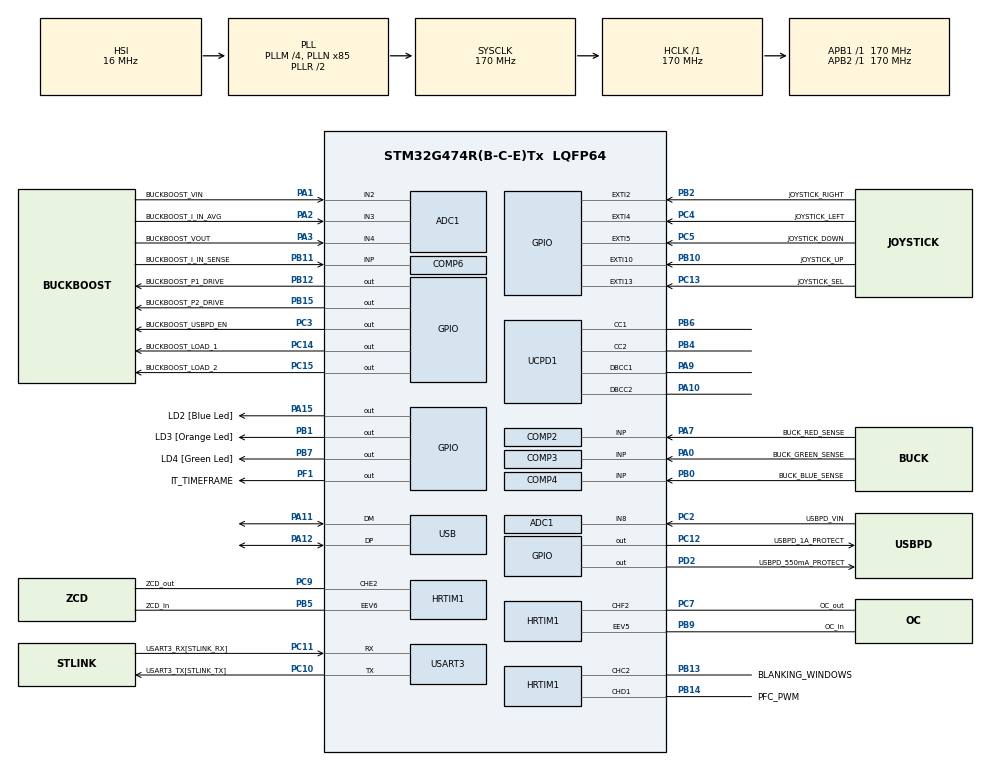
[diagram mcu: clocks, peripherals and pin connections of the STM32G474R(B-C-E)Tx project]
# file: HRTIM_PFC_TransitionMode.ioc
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ADC1.Channel-0\#ChannelRegularConversion=ADC_CHANNEL_8
ADC1.NbrOfConversionFlag=1
ADC1.OffsetNumber-0\#ChannelRegularConversion=ADC_OFFSET_NONE
ADC1.Rank-0\#ChannelRegularConversion=1
ADC1.SamplingTime-0\#ChannelRegularConversion=ADC_SAMPLETIME_2CYCLES_5
ADC1.master=1
DAC3.DAC_Channel-DAC_OUT2_Int=DAC_CHANNEL_2
HRTIM1.AutoDelayedMode2-Output_TD1=HRTIM_AUTODELAYEDMODE_AUTODELAYED_TIMEOUTCMP1
HRTIM1.AutoDelayedMode2-Output_TF2=HRTIM_AUTODELAYEDMODE_REGULAR
HRTIM1.AutoDelayedMode4-Output_TD1=HRTIM_AUTODELAYEDMODE_AUTODELAYED_TIMEOUTCMP1
HRTIM1.AutoDelayedTimeout2-Output_TD1=TON_MAX
HRTIM1.AutoDelayedTimeout4-Output_TD1=TON_MAX
HRTIM1.CaptureUnit1-Output_TD1=HRTIM_CAPTUREUNIT_1
HRTIM1.CaptureUnit1-Output_TE2=__NULL
HRTIM1.CaptureUnit1-Output_TF2=__NULL
HRTIM1.CaptureUnit2-Output_TD1=HRTIM_CAPTUREUNIT_2
HRTIM1.CaptureUnit2-Output_TF2=__NULL
HRTIM1.CompareUnit1-Output_TC2=HRTIM_COMPAREUNIT_1
HRTIM1.CompareUnit1-Output_TD1=HRTIM_COMPAREUNIT_1
HRTIM1.CompareUnit1-Output_TF2=HRTIM_COMPAREUNIT_1
HRTIM1.CompareUnit2-Output_TD1=HRTIM_COMPAREUNIT_2
HRTIM1.CompareUnit2-Output_TE2=__NULL
HRTIM1.CompareUnit2-Output_TF2=HRTIM_COMPAREUNIT_2
HRTIM1.CompareUnit3-Output_TD1=HRTIM_COMPAREUNIT_3
HRTIM1.CompareUnit3-Output_TE2=HRTIM_COMPAREUNIT_3
HRTIM1.CompareUnit3-Output_TF2=__NULL
HRTIM1.CompareUnit4-Output_TD1=HRTIM_COMPAREUNIT_4
HRTIM1.CompareUnit4-Output_TE2=HRTIM_COMPAREUNIT_4
HRTIM1.CompareUnit4-Output_TF2=__NULL
HRTIM1.CompareValue1-Output_TC2=TON_MIN
HRTIM1.CompareValue1-Output_TF2=14000
HRTIM1.CompareValue2-Output_TD1=TOFF_MAX
HRTIM1.CompareValue2-Output_TF2=14100
HRTIM1.CompareValue3-Output_TD1=TON_MIN
HRTIM1.CompareValue3-Output_TE2=30000
HRTIM1.CompareValue4-Output_TD1=TOFF_MIN
HRTIM1.CompareValue4-Output_TE2=31000
HRTIM1.Event10-Output_TC2=__NULL
HRTIM1.Event10-Output_TD1=__NULL
HRTIM1.Event10-Output_TE2=__NULL
HRTIM1.Event10-Output_TF2=__NULL
HRTIM1.Event5-Output_TD1=HRTIM_EVENT_5
HRTIM1.Event5-Output_TF2=__NULL
HRTIM1.Event6-Output_TC2=HRTIM_EVENT_6
HRTIM1.Event6-Output_TD1=HRTIM_EVENT_6
HRTIM1.Event6-Output_TE2=HRTIM_EVENT_6
HRTIM1.Event6-Output_TF2=HRTIM_EVENT_6
HRTIM1.EventEnableA-Output_TF2=__NULL
HRTIM1.Event_EEV10=__NULL
HRTIM1.Event_EEV5=HRTIM_EVENT_5
HRTIM1.FastMode_EEV5=HRTIM_EVENTFASTMODE_DISABLE
HRTIM1.Filter5-Output_TD1=HRTIM_TIMEEVFLT_BLANKINGCMP3
HRTIM1.Filter6-Output_TC2=HRTIM_TIMEEVFLT_BLANKING_TIMCEEF6_TIMDCMP4
HRTIM1.Filter6-Output_TD1=HRTIM_TIMEEVFLT_BLANKINGCMP4
HRTIM1.Filter6-Output_TE2=HRTIM_TIMEEVFLT_BLANKING_TIMEEEF7_TIMDCMP4
HRTIM1.Filter6-Output_TF2=HRTIM_TIMEEVFLT_BLANKING_TIMFEEF5_TIMDCMP4
HRTIM1.InterruptRequests1-Output_TF2=HRTIM_TIM_IT_RST
HRTIM1.Latch6-Output_TC2=HRTIM_TIMEVENTLATCH_ENABLED
HRTIM1.Latch6-Output_TD1=HRTIM_TIMEVENTLATCH_ENABLED
HRTIM1.Latch6-Output_TE2=HRTIM_TIMEVENTLATCH_ENABLED
HRTIM1.Latch6-Output_TF2=HRTIM_TIMEVENTLATCH_ENABLED
HRTIM1.NumberInterruptRequests-Output_TD1=0
HRTIM1.NumberInterruptRequests-Output_TF2=1
HRTIM1.NumberResetSource1-Output_TD1=2
HRTIM1.NumberResetSource2-Output_TC2=2
HRTIM1.NumberResetSource2-Output_TE2=3
HRTIM1.NumberResetSource2-Output_TF2=1
HRTIM1.NumberResetTrigger-Output_TC2=2
HRTIM1.NumberResetTrigger-Output_TD1=2
HRTIM1.NumberResetTrigger-Output_TE2=2
HRTIM1.NumberResetTrigger-Output_TF2=2
HRTIM1.NumberSetSource1-Output_TD1=2
HRTIM1.NumberSetSource2-Output_TC2=2
HRTIM1.NumberSetSource2-Output_TE2=1
HRTIM1.NumberSetSource2-Output_TF2=1
HRTIM1.NumberTriggerSource_Captureconfig1-Output_TD1=1
HRTIM1.NumberTriggerSource_Captureconfig2-Output_TD1=1
HRTIM1.NumberUpdateTrigger-Output_TF2=0
HRTIM1.Periode_TE=0xFFEF
HRTIM1.PrescalerRatio_TC=HRTIM_PRESCALERRATIO_MUL16
HRTIM1.PrescalerRatio_TD=HRTIM_PRESCALERRATIO_MUL16
HRTIM1.PrescalerRatio_TE=HRTIM_PRESCALERRATIO_MUL16
HRTIM1.PrescalerRatio_TF=HRTIM_PRESCALERRATIO_MUL16
HRTIM1.ResetOutput1_Source1-Output_TD1=HRTIM_OUTPUTRESET_TIMCMP1
HRTIM1.ResetOutput1_Source2-Output_TD1=HRTIM_OUTPUTRESET_EEV_5
HRTIM1.ResetOutput2_Source1-Output_TC2=HRTIM_OUTPUTRESET_TIMCMP1
HRTIM1.ResetOutput2_Source1-Output_TE2=HRTIM_OUTPUTRESET_TIMCMP4
HRTIM1.ResetOutput2_Source1-Output_TF2=HRTIM_OUTPUTRESET_TIMCMP2
HRTIM1.ResetOutput2_Source2-Output_TC2=HRTIM_OUTPUTRESET_TIMCEV6_TIMDCMP4
HRTIM1.ResetOutput2_Source2-Output_TE2=HRTIM_OUTPUTRESET_TIMEEV7_TIMDCMP2
HRTIM1.ResetOutput2_Source3-Output_TE2=HRTIM_OUTPUTRESET_EEV_6
HRTIM1.ResetTrigger1-Output_TC2=HRTIM_TIMRESETTRIGGER_OTHER3_CMP2
HRTIM1.ResetTrigger1-Output_TD1=HRTIM_TIMRESETTRIGGER_CMP2
HRTIM1.ResetTrigger1-Output_TE2=HRTIM_TIMRESETTRIGGER_OTHER4_CMP2
HRTIM1.ResetTrigger1-Output_TF2=HRTIM_TIMRESETTRIGGER_EEV_6
HRTIM1.ResetTrigger2-Output_TC2=HRTIM_TIMRESETTRIGGER_EEV_6
HRTIM1.ResetTrigger2-Output_TD1=HRTIM_TIMRESETTRIGGER_EEV_6
HRTIM1.ResetTrigger2-Output_TE2=HRTIM_TIMRESETTRIGGER_EEV_6
HRTIM1.ResetTrigger2-Output_TF2=HRTIM_TIMRESETTRIGGER_OTHER4_CMP2
HRTIM1.ResetUpdate-Output_TD1=HRTIM_TIMUPDATEONRESET_ENABLED
HRTIM1.ResetUpdate-Output_TE2=HRTIM_TIMUPDATEONRESET_ENABLED
HRTIM1.Sensitivity_EEV5=HRTIM_EVENTSENSITIVITY_LEVEL
HRTIM1.Sensitivity_EEV6=HRTIM_EVENTSENSITIVITY_RISINGEDGE
HRTIM1.SetOutput1_Source1-Output_TD1=HRTIM_OUTPUTSET_TIMCMP2
HRTIM1.SetOutput1_Source2-Output_TD1=HRTIM_OUTPUTSET_EEV_6
HRTIM1.SetOutput2_Source1-Output_TC2=HRTIM_OUTPUTSET_TIMCEV5_TIMDCMP2
HRTIM1.SetOutput2_Source1-Output_TE2=HRTIM_OUTPUTSET_TIMCMP3
HRTIM1.SetOutput2_Source1-Output_TF2=HRTIM_OUTPUTSET_TIMCMP1
HRTIM1.SetOutput2_Source2-Output_TC2=HRTIM_OUTPUTSET_EEV_6
HRTIM1.SyncOptions=HRTIM_SYNCOPTION_NONE
HRTIM1.TriggerCapture1_Source1-Output_TD1=HRTIM_CAPTURETRIGGER_EEV_5
HRTIM1.TriggerCapture2_Source1-Output_TD1=HRTIM_CAPTURETRIGGER_EEV_5
Mcu.Family=STM32G4
Mcu.Name=STM32G474R(B-C-E)Tx
Mcu.Package=LQFP64
NVIC.ADC1_2_IRQn=true\:0\:0\:true\:false\:true\:true\:true\:true
NVIC.EXTI15_10_IRQn=true\:1\:0\:true\:false\:true\:true\:true\:true
NVIC.HRTIM1_TIMF_IRQn=true\:0\:0\:true\:false\:true\:true\:false\:true
NVIC.PriorityGroup=NVIC_PRIORITYGROUP_4
NVIC.USART3_IRQn=true\:0\:0\:true\:false\:true\:true\:true\:true
NVIC.USB_HP_IRQn=true\:0\:0\:true\:false\:true\:true\:true\:true
PA0.GPIO_Label=BUCK_GREEN_SENSE
PA0.Mode=INP
PA0.Signal=COMP3_INP
PA1.GPIO_Label=BUCKBOOST_VIN
PA1.Mode=IN2-Single-Ended
PA1.Signal=ADC1_IN2
PA10.Mode=EnableDeadBattery
PA10.Signal=UCPD1_DBCC2
PA11.Mode=Device
PA11.Signal=USB_DM
PA12.Mode=Device
PA12.Signal=USB_DP
PA13.Mode=Serial_Wire
PA13.Signal=SYS_JTMS-SWDIO
PA14.Mode=Serial_Wire
PA14.Signal=SYS_JTCK-SWCLK
PA15.GPIO_Label=LD2 [Blue Led]
PA15.Signal=GPIO_Output
PA2.GPIO_Label=BUCKBOOST_I_IN_AVG
PA2.Mode=IN3-Single-Ended
PA2.Signal=ADC1_IN3
PA3.GPIO_Label=BUCKBOOST_VOUT
PA3.Mode=IN4-Single-Ended
PA3.Signal=ADC1_IN4
PA7.GPIO_Label=BUCK_RED_SENSE
PA7.Mode=INP
PA7.Signal=COMP2_INP
PA8.GPIO_Label=BUCK_BLUE_DRIVE
PA8.Signal=HRTIM1_CHA1
PA9.Mode=EnableDeadBattery
PA9.Signal=UCPD1_DBCC1
PB0.GPIO_Label=BUCK_BLUE_SENSE
PB0.Mode=INP
PB0.Signal=COMP4_INP
PB1.GPIO_Label=LD3 [Orange Led]
PB1.Signal=GPIO_Output
PB10.GPIO_Label=JOYSTICK_UP
PB10.GPIO_PuPd=GPIO_PULLUP
PB10.Signal=GPXTI10
PB11.GPIO_Label=BUCKBOOST_I_IN_SENSE
PB11.Mode=INP
PB11.Signal=COMP6_INP
PB12.GPIO_Label=BUCKBOOST_P1_DRIVE
PB12.Signal=GPIO_Output
PB13.GPIO_Label=BLANKING_WINDOWS
PB13.Mode=Output_TC2
PB13.Signal=HRTIM1_CHC2
PB14.GPIO_Label=PFC_PWM
PB14.Mode=Output_TD1
PB14.Signal=HRTIM1_CHD1
PB15.GPIO_Label=BUCKBOOST_P2_DRIVE
PB15.Signal=GPIO_Output
PB2.GPIO_Label=JOYSTICK_RIGHT
PB2.GPIO_PuPd=GPIO_PULLUP
PB2.Signal=GPXTI2
PB3.Signal=SYS_JTDO-SWO
PB4.Mode=Sink_AllSignals
PB4.Signal=UCPD1_CC2
PB5.GPIO_Label=ZCD_in
PB5.Mode=External_Evt_enable6
PB5.Signal=HRTIM1_EEV6
PB6.Mode=Sink_AllSignals
PB6.Signal=UCPD1_CC1
PB7.GPIO_Label=LD4 [Green Led]
PB7.Signal=GPIO_Output
PB9.GPIO_Label=OC_in
PB9.Mode=External_Evt_enable5
PB9.Signal=HRTIM1_EEV5
PC10.GPIO_Label=USART3_TX[STLINK_TX]
PC10.GPIO_Speed=GPIO_SPEED_FREQ_MEDIUM
PC10.Mode=Asynchronous
PC10.Signal=USART3_TX
PC11.GPIO_Label=USART3_RX[STLINK_RX]
PC11.GPIO_Speed=GPIO_SPEED_FREQ_MEDIUM
PC11.Mode=Asynchronous
PC11.Signal=USART3_RX
PC12.GPIO_Label=USBPD_1A_PROTECT
PC12.Signal=GPIO_Output
PC13.GPIO_Label=JOYSTICK_SEL
PC13.GPIO_PuPd=GPIO_PULLUP
PC13.Signal=GPXTI13
PC14-OSC32_IN.GPIO_Label=BUCKBOOST_LOAD_1
PC14-OSC32_IN.Signal=GPIO_Output
PC15-OSC32_OUT.GPIO_Label=BUCKBOOST_LOAD_2
PC15-OSC32_OUT.Signal=GPIO_Output
PC2.GPIO_Label=USBPD_VIN
PC2.Mode=IN8-Single-Ended
PC2.Signal=ADC1_IN8
PC3.GPIO_Label=BUCKBOOST_USBPD_EN
PC3.Signal=GPIO_Output
PC4.GPIO_Label=JOYSTICK_LEFT
PC4.GPIO_PuPd=GPIO_PULLUP
PC4.Signal=GPXTI4
PC5.GPIO_Label=JOYSTICK_DOWN
PC5.GPIO_PuPd=GPIO_PULLUP
PC5.Signal=GPXTI5
PC7.GPIO_Label=OC_out
PC7.Mode=Output_TF2
PC7.Signal=HRTIM1_CHF2
PC8.GPIO_Label=BUCK_GREEN_DRIVE
PC8.Signal=HRTIM1_CHE1
PC9.GPIO_Label=ZCD_out
PC9.Mode=Output_TE2
PC9.Signal=HRTIM1_CHE2
PD2.GPIO_Label=USBPD_550mA_PROTECT
PD2.Signal=GPIO_Output
PF1-OSC_OUT.GPIO_Label=IT_TIMEFRAME
PF1-OSC_OUT.Signal=GPIO_Output
ProjectManager.HeapSize=0x200
ProjectManager.StackSize=0x400
ProjectManager.TargetToolchain=EWARM V8.32
RCC.ADC12Freq_Value=170000000
RCC.ADC345Freq_Value=170000000
RCC.AHBFreq_Value=170000000
RCC.APB1Freq_Value=170000000
RCC.APB1TimFreq_Value=170000000
RCC.APB2Freq_Value=170000000
RCC.APB2TimFreq_Value=170000000
RCC.CK48CLockSelection=RCC_USBCLKSOURCE_HSI48
RCC.CortexFreq_Value=170000000
RCC.EXTERNAL_CLOCK_VALUE=12288000
RCC.HCLKFreq_Value=170000000
RCC.HSE_VALUE=8000000
RCC.HSI48_VALUE=48000000
RCC.HSI_VALUE=16000000
RCC.LSE_VALUE=32768
RCC.PLLM=RCC_PLLM_DIV4
RCC.PLLN=85
RCC.PLLP=RCC_PLLP_DIV8
RCC.PLLQ=RCC_PLLQ_DIV8
RCC.SYSCLKFreq_VALUE=170000000
RCC.SYSCLKSource=RCC_SYSCLKSOURCE_PLLCLK
RCC.USBFreq_Value=48000000
RCC.VCOOutputFreq_Value=340000000
USART3.ClockPrescaler=PRESCALER_DIV4
USART3.VirtualMode-Asynchronous=VM_ASYNC
USART3.WordLength=WORDLENGTH_8B
VP_COMP2_VS_DAC3OUT2.Mode=INM_DAC3OUT2
VP_COMP3_VS_DAC3OUT1.Mode=INM_DAC3OUT1
VP_COMP4_VS_DAC1OUT1.Mode=INM_DAC1OUT1
VP_COMP6_VS_DAC2OUT1.Mode=INM_DAC2OUT1
VP_DAC1_VS_DACI1.Mode=DAC_OUT1_Int
VP_DAC2_VS_DACI1.Mode=DAC_OUT1_Int
VP_DAC3_VS_DACI1.Mode=DAC_OUT1_Int
VP_DAC3_VS_DACI2.Mode=DAC_OUT2_Int
VP_SYS_VS_DBSignals.Mode=DisableDeadBatterySignals
board=B-G474E-DPOW1

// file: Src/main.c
/* USER CODE BEGIN Header */
/**
  ******************************************************************************
  * @file         main.c
  * @author       STMicroelectronics
  * @version      V1.0.0
  * @date         06-Jan-2022
  * @brief        Main application code
  * @details      This file contains peripheral initialization functions and
  *               main code of the application
  ******************************************************************************
  *
  * Copyright (c) 2022 STMicroelectronics.
  * All rights reserved.
  *
  * This software is licensed under terms that can be found in the LICENSE file in
  * the root directory of this software component.
  * If no LICENSE file comes with this software, it is provided AS-IS.
  ******************************************************************************
  *
 * @history Date       Version Person  Change
 * @history ---------- ------- ------- ----------------------------------------
  * @history 2022-01-06 1.0     NSa    First version of the file
 */
/* USER CODE END Header */
#include "main.h"

ADC_HandleTypeDef hadc1;

COMP_HandleTypeDef hcomp2;
COMP_HandleTypeDef hcomp3;
COMP_HandleTypeDef hcomp4;
COMP_HandleTypeDef hcomp6;

DAC_HandleTypeDef hdac1;
DAC_HandleTypeDef hdac2;
DAC_HandleTypeDef hdac3;

HRTIM_HandleTypeDef hhrtim1;

UART_HandleTypeDef huart3;

PCD_HandleTypeDef hpcd_USB_FS;

/* USER CODE BEGIN PV */

// declared in the IT's source file
extern uint16_t zcd_re_time;
extern uint16_t oc_re_time;
extern char blanking_display_status;

/* USER CODE END PV */

void SystemClock_Config(void);
static void MX_GPIO_Init(void);
static void MX_ADC1_Init(void);
static void MX_COMP2_Init(void);
static void MX_COMP3_Init(void);
static void MX_COMP4_Init(void);
static void MX_COMP6_Init(void);
static void MX_DAC1_Init(void);
static void MX_DAC2_Init(void);
static void MX_DAC3_Init(void);
static void MX_HRTIM1_Init(void);
static void MX_UCPD1_Init(void);
static void MX_USART3_UART_Init(void);
static void MX_USB_PCD_Init(void);

/* USER CODE BEGIN 0 */

/**
  * @brief  EXTI line detection callback; called by IRQ's when joystick is pressed
  * @param  GPIO_Pin: Specifies the button of the joystick that was pressed
  * @retval None
  */
void HAL_GPIO_EXTI_Callback(uint16_t GPIO_Pin)
{
  if (GPIO_Pin == JOYSTICK_SEL_Pin)
  {
    blanking_display_status ^= 1;

    // If we want to display the ZCD blanking window, we set the compare event to the max
    // because the output is also reset on Timer D's Toff_Min event
    if (blanking_display_status == 1)
      __HAL_HRTIM_SETCOMPARE(&hhrtim1,
                           HRTIM_TIMERINDEX_TIMER_C,
                           HRTIM_COMPAREUNIT_1,
                           MAX_DUTY_CYCLE);
    else
    // If we want to display the OC blanking window we use TC_compare1 to reset the output
    // directly on TON_MIN
      __HAL_HRTIM_SETCOMPARE(&hhrtim1,
                           HRTIM_TIMERINDEX_TIMER_C,
                           HRTIM_COMPAREUNIT_1,
                           TON_MIN);

  }
}

/* USER CODE END 0 */

int main(void)
{

  /* MCU Configuration--------------------------------------------------------*/

  /* Reset of all peripherals, Initializes the Flash interface and the Systick. */
  HAL_Init();

  /* Configure the system clock */
  SystemClock_Config();

  /* Initialize all configured peripherals */
  MX_GPIO_Init();
  MX_ADC1_Init();
  MX_COMP2_Init();
  MX_COMP3_Init();
  MX_COMP4_Init();
  MX_COMP6_Init();
  MX_DAC1_Init();
  MX_DAC2_Init();
  MX_DAC3_Init();
  MX_HRTIM1_Init();
  MX_UCPD1_Init();
  MX_USART3_UART_Init();
  MX_USB_PCD_Init();
  /* USER CODE BEGIN 2 */

  /* Disable Buck & Boost drivers only mode usage */
  // We make sure that no high-side is connected on the DC-DC converter
  HAL_GPIO_WritePin(GPIOB, BUCKBOOST_P2_DRIVE_Pin |
                           BUCKBOOST_P1_DRIVE_Pin , GPIO_PIN_RESET);

  // Enable HRTIM Outputs
  HAL_HRTIM_WaveformOutputStart(&hhrtim1, HRTIM_OUTPUT_TE2 | // ZCD
                                          HRTIM_OUTPUT_TF2 | // OC
                                          HRTIM_OUTPUT_TD1 | // PWM
                                          HRTIM_OUTPUT_TC2); // Blanking Windows

  // Start HRTIM Counters
  HAL_HRTIM_WaveformCounterStart(&hhrtim1, HRTIM_TIMERID_TIMER_E |  // ZCD
                                           HRTIM_TIMERID_TIMER_F |  // OC
                                           HRTIM_TIMERID_TIMER_D |  // PWM
                                           HRTIM_TIMERID_TIMER_C ); // Blanking Windows

  /* Configure Debug engine to freeze HRTIM1 when breakpoint */
  SET_BIT(DBGMCU->APB2FZ, DBGMCU_APB2FZ_DBG_HRTIM1_STOP);

  /*Enable the HRTIM CHF IT to edit the ZCD/OC occurrence according user config*/
  __HAL_HRTIM_TIMER_ENABLE_IT(&hhrtim1, HRTIM_TIMERINDEX_TIMER_F, HRTIM_TIM_IT_RST);

  /* USER CODE END 2 */

  /* Infinite loop */
  while (1)
  {

    /* USER CODE BEGIN 3 */
    // Toggle pin to observe bandwidth usage by IRQ
    HAL_GPIO_TogglePin(IT_TIMEFRAME_GPIO_Port, IT_TIMEFRAME_Pin);
  }
  /* USER CODE END 3 */
}

void SystemClock_Config(void)
{
  RCC_OscInitTypeDef RCC_OscInitStruct = {0};
  RCC_ClkInitTypeDef RCC_ClkInitStruct = {0};

  /** Configure the main internal regulator output voltage
  */
  HAL_PWREx_ControlVoltageScaling(PWR_REGULATOR_VOLTAGE_SCALE1_BOOST);

  /** Initializes the RCC Oscillators according to the specified parameters
  * in the RCC_OscInitTypeDef structure.
  */
  RCC_OscInitStruct.OscillatorType = RCC_OSCILLATORTYPE_HSI|RCC_OSCILLATORTYPE_HSI48;
  RCC_OscInitStruct.HSIState = RCC_HSI_ON;
  RCC_OscInitStruct.HSICalibrationValue = RCC_HSICALIBRATION_DEFAULT;
  RCC_OscInitStruct.HSI48State = RCC_HSI48_ON;
  RCC_OscInitStruct.PLL.PLLState = RCC_PLL_ON;
  RCC_OscInitStruct.PLL.PLLSource = RCC_PLLSOURCE_HSI;
  RCC_OscInitStruct.PLL.PLLM = RCC_PLLM_DIV4;
  RCC_OscInitStruct.PLL.PLLN = 85;
  RCC_OscInitStruct.PLL.PLLP = RCC_PLLP_DIV8;
  RCC_OscInitStruct.PLL.PLLQ = RCC_PLLQ_DIV8;
  RCC_OscInitStruct.PLL.PLLR = RCC_PLLR_DIV2;
  if (HAL_RCC_OscConfig(&RCC_OscInitStruct) != HAL_OK)
  {
    Error_Handler();
  }

  /** Initializes the CPU, AHB and APB buses clocks
  */
  RCC_ClkInitStruct.ClockType = RCC_CLOCKTYPE_HCLK|RCC_CLOCKTYPE_SYSCLK
                              |RCC_CLOCKTYPE_PCLK1|RCC_CLOCKTYPE_PCLK2;
  RCC_ClkInitStruct.SYSCLKSource = RCC_SYSCLKSOURCE_PLLCLK;
  RCC_ClkInitStruct.AHBCLKDivider = RCC_SYSCLK_DIV1;
  RCC_ClkInitStruct.APB1CLKDivider = RCC_HCLK_DIV1;
  RCC_ClkInitStruct.APB2CLKDivider = RCC_HCLK_DIV1;

  if (HAL_RCC_ClockConfig(&RCC_ClkInitStruct, FLASH_LATENCY_4) != HAL_OK)
  {
    Error_Handler();
  }
}

static void MX_ADC1_Init(void)
{

  ADC_MultiModeTypeDef multimode = {0};
  ADC_ChannelConfTypeDef sConfig = {0};

  /** Common config
  */
  hadc1.Instance = ADC1;
  hadc1.Init.ClockPrescaler = ADC_CLOCK_SYNC_PCLK_DIV4;
  hadc1.Init.Resolution = ADC_RESOLUTION_12B;
  hadc1.Init.DataAlign = ADC_DATAALIGN_RIGHT;
  hadc1.Init.GainCompensation = 0;
  hadc1.Init.ScanConvMode = ADC_SCAN_DISABLE;
  hadc1.Init.EOCSelection = ADC_EOC_SINGLE_CONV;
  hadc1.Init.LowPowerAutoWait = DISABLE;
  hadc1.Init.ContinuousConvMode = DISABLE;
  hadc1.Init.NbrOfConversion = 1;
  hadc1.Init.DiscontinuousConvMode = DISABLE;
  hadc1.Init.ExternalTrigConv = ADC_SOFTWARE_START;
  hadc1.Init.ExternalTrigConvEdge = ADC_EXTERNALTRIGCONVEDGE_NONE;
  hadc1.Init.DMAContinuousRequests = DISABLE;
  hadc1.Init.Overrun = ADC_OVR_DATA_PRESERVED;
  hadc1.Init.OversamplingMode = DISABLE;
  if (HAL_ADC_Init(&hadc1) != HAL_OK)
  {
    Error_Handler();
  }

  /** Configure the ADC multi-mode
  */
  multimode.Mode = ADC_MODE_INDEPENDENT;
  if (HAL_ADCEx_MultiModeConfigChannel(&hadc1, &multimode) != HAL_OK)
  {
    Error_Handler();
  }

  /** Configure Regular Channel
  */
  sConfig.Channel = ADC_CHANNEL_8;
  sConfig.Rank = ADC_REGULAR_RANK_1;
  sConfig.SamplingTime = ADC_SAMPLETIME_2CYCLES_5;
  sConfig.SingleDiff = ADC_SINGLE_ENDED;
  sConfig.OffsetNumber = ADC_OFFSET_NONE;
  sConfig.Offset = 0;
  if (HAL_ADC_ConfigChannel(&hadc1, &sConfig) != HAL_OK)
  {
    Error_Handler();
  }

}

static void MX_COMP2_Init(void)
{

  hcomp2.Instance = COMP2;
  hcomp2.Init.InputPlus = COMP_INPUT_PLUS_IO1;
  hcomp2.Init.InputMinus = COMP_INPUT_MINUS_DAC3_CH2;
  hcomp2.Init.OutputPol = COMP_OUTPUTPOL_NONINVERTED;
  hcomp2.Init.Hysteresis = COMP_HYSTERESIS_NONE;
  hcomp2.Init.BlankingSrce = COMP_BLANKINGSRC_NONE;
  hcomp2.Init.TriggerMode = COMP_TRIGGERMODE_NONE;
  if (HAL_COMP_Init(&hcomp2) != HAL_OK)
  {
    Error_Handler();
  }

}

static void MX_COMP3_Init(void)
{

  hcomp3.Instance = COMP3;
  hcomp3.Init.InputPlus = COMP_INPUT_PLUS_IO1;
  hcomp3.Init.InputMinus = COMP_INPUT_MINUS_DAC3_CH1;
  hcomp3.Init.OutputPol = COMP_OUTPUTPOL_NONINVERTED;
  hcomp3.Init.Hysteresis = COMP_HYSTERESIS_NONE;
  hcomp3.Init.BlankingSrce = COMP_BLANKINGSRC_NONE;
  hcomp3.Init.TriggerMode = COMP_TRIGGERMODE_NONE;
  if (HAL_COMP_Init(&hcomp3) != HAL_OK)
  {
    Error_Handler();
  }

}

static void MX_COMP4_Init(void)
{

  hcomp4.Instance = COMP4;
  hcomp4.Init.InputPlus = COMP_INPUT_PLUS_IO1;
  hcomp4.Init.InputMinus = COMP_INPUT_MINUS_DAC1_CH1;
  hcomp4.Init.OutputPol = COMP_OUTPUTPOL_NONINVERTED;
  hcomp4.Init.Hysteresis = COMP_HYSTERESIS_NONE;
  hcomp4.Init.BlankingSrce = COMP_BLANKINGSRC_NONE;
  hcomp4.Init.TriggerMode = COMP_TRIGGERMODE_NONE;
  if (HAL_COMP_Init(&hcomp4) != HAL_OK)
  {
    Error_Handler();
  }

}

static void MX_COMP6_Init(void)
{

  hcomp6.Instance = COMP6;
  hcomp6.Init.InputPlus = COMP_INPUT_PLUS_IO1;
  hcomp6.Init.InputMinus = COMP_INPUT_MINUS_DAC2_CH1;
  hcomp6.Init.OutputPol = COMP_OUTPUTPOL_NONINVERTED;
  hcomp6.Init.Hysteresis = COMP_HYSTERESIS_NONE;
  hcomp6.Init.BlankingSrce = COMP_BLANKINGSRC_NONE;
  hcomp6.Init.TriggerMode = COMP_TRIGGERMODE_NONE;
  if (HAL_COMP_Init(&hcomp6) != HAL_OK)
  {
    Error_Handler();
  }

}

static void MX_DAC1_Init(void)
{

  DAC_ChannelConfTypeDef sConfig = {0};

  /** DAC Initialization
  */
  hdac1.Instance = DAC1;
  if (HAL_DAC_Init(&hdac1) != HAL_OK)
  {
    Error_Handler();
  }

  /** DAC channel OUT1 config
  */
  sConfig.DAC_HighFrequency = DAC_HIGH_FREQUENCY_INTERFACE_MODE_AUTOMATIC;
  sConfig.DAC_DMADoubleDataMode = DISABLE;
  sConfig.DAC_SignedFormat = DISABLE;
  sConfig.DAC_SampleAndHold = DAC_SAMPLEANDHOLD_DISABLE;
  sConfig.DAC_Trigger = DAC_TRIGGER_NONE;
  sConfig.DAC_Trigger2 = DAC_TRIGGER_NONE;
  sConfig.DAC_OutputBuffer = DAC_OUTPUTBUFFER_DISABLE;
  sConfig.DAC_ConnectOnChipPeripheral = DAC_CHIPCONNECT_INTERNAL;
  sConfig.DAC_UserTrimming = DAC_TRIMMING_FACTORY;
  if (HAL_DAC_ConfigChannel(&hdac1, &sConfig, DAC_CHANNEL_1) != HAL_OK)
  {
    Error_Handler();
  }

}

static void MX_DAC2_Init(void)
{

  DAC_ChannelConfTypeDef sConfig = {0};

  /** DAC Initialization
  */
  hdac2.Instance = DAC2;
  if (HAL_DAC_Init(&hdac2) != HAL_OK)
  {
    Error_Handler();
  }

  /** DAC channel OUT1 config
  */
  sConfig.DAC_HighFrequency = DAC_HIGH_FREQUENCY_INTERFACE_MODE_AUTOMATIC;
  sConfig.DAC_DMADoubleDataMode = DISABLE;
  sConfig.DAC_SignedFormat = DISABLE;
  sConfig.DAC_SampleAndHold = DAC_SAMPLEANDHOLD_DISABLE;
  sConfig.DAC_Trigger = DAC_TRIGGER_NONE;
  sConfig.DAC_Trigger2 = DAC_TRIGGER_NONE;
  sConfig.DAC_OutputBuffer = DAC_OUTPUTBUFFER_DISABLE;
  sConfig.DAC_ConnectOnChipPeripheral = DAC_CHIPCONNECT_INTERNAL;
  sConfig.DAC_UserTrimming = DAC_TRIMMING_FACTORY;
  if (HAL_DAC_ConfigChannel(&hdac2, &sConfig, DAC_CHANNEL_1) != HAL_OK)
  {
    Error_Handler();
  }

}

static void MX_DAC3_Init(void)
{

  DAC_ChannelConfTypeDef sConfig = {0};

  /** DAC Initialization
  */
  hdac3.Instance = DAC3;
  if (HAL_DAC_Init(&hdac3) != HAL_OK)
  {
    Error_Handler();
  }

  /** DAC channel OUT1 config
  */
  sConfig.DAC_HighFrequency = DAC_HIGH_FREQUENCY_INTERFACE_MODE_AUTOMATIC;
  sConfig.DAC_DMADoubleDataMode = DISABLE;
  sConfig.DAC_SignedFormat = DISABLE;
  sConfig.DAC_SampleAndHold = DAC_SAMPLEANDHOLD_DISABLE;
  sConfig.DAC_Trigger = DAC_TRIGGER_NONE;
  sConfig.DAC_Trigger2 = DAC_TRIGGER_NONE;
  sConfig.DAC_OutputBuffer = DAC_OUTPUTBUFFER_DISABLE;
  sConfig.DAC_ConnectOnChipPeripheral = DAC_CHIPCONNECT_INTERNAL;
  sConfig.DAC_UserTrimming = DAC_TRIMMING_FACTORY;
  if (HAL_DAC_ConfigChannel(&hdac3, &sConfig, DAC_CHANNEL_1) != HAL_OK)
  {
    Error_Handler();
  }

  /** DAC channel OUT2 config
  */
  if (HAL_DAC_ConfigChannel(&hdac3, &sConfig, DAC_CHANNEL_2) != HAL_OK)
  {
    Error_Handler();
  }

}

static void MX_HRTIM1_Init(void)
{

  HRTIM_EventCfgTypeDef pEventCfg = {0};
  HRTIM_TimeBaseCfgTypeDef pTimeBaseCfg = {0};
  HRTIM_TimerCtlTypeDef pTimerCtl = {0};
  HRTIM_TimerCfgTypeDef pTimerCfg = {0};
  HRTIM_CompareCfgTypeDef pCompareCfg = {0};
  HRTIM_CaptureCfgTypeDef pCaptureCfg = {0};
  HRTIM_TimerEventFilteringCfgTypeDef pTimerEventFilteringCfg = {0};
  HRTIM_OutputCfgTypeDef pOutputCfg = {0};

  hhrtim1.Instance = HRTIM1;
  hhrtim1.Init.HRTIMInterruptResquests = HRTIM_IT_NONE;
  hhrtim1.Init.SyncOptions = HRTIM_SYNCOPTION_NONE;
  if (HAL_HRTIM_Init(&hhrtim1) != HAL_OK)
  {
    Error_Handler();
  }
  if (HAL_HRTIM_DLLCalibrationStart(&hhrtim1, HRTIM_CALIBRATIONRATE_3) != HAL_OK)
  {
    Error_Handler();
  }
  if (HAL_HRTIM_PollForDLLCalibration(&hhrtim1, 10) != HAL_OK)
  {
    Error_Handler();
  }
  if (HAL_HRTIM_EventPrescalerConfig(&hhrtim1, HRTIM_EVENTPRESCALER_DIV1) != HAL_OK)
  {
    Error_Handler();
  }
  pEventCfg.Source = HRTIM_EEV5SRC_GPIO;
  pEventCfg.Polarity = HRTIM_EVENTPOLARITY_HIGH;
  pEventCfg.Sensitivity = HRTIM_EVENTSENSITIVITY_LEVEL;
  pEventCfg.FastMode = HRTIM_EVENTFASTMODE_DISABLE;
  if (HAL_HRTIM_EventConfig(&hhrtim1, HRTIM_EVENT_5, &pEventCfg) != HAL_OK)
  {
    Error_Handler();
  }
  pEventCfg.Source = HRTIM_EEV6SRC_GPIO;
  pEventCfg.Sensitivity = HRTIM_EVENTSENSITIVITY_RISINGEDGE;
  pEventCfg.Filter = HRTIM_EVENTFILTER_NONE;
  if (HAL_HRTIM_EventConfig(&hhrtim1, HRTIM_EVENT_6, &pEventCfg) != HAL_OK)
  {
    Error_Handler();
  }
  pTimeBaseCfg.Period = 0xFFEF;
  pTimeBaseCfg.RepetitionCounter = 0x00;
  pTimeBaseCfg.PrescalerRatio = HRTIM_PRESCALERRATIO_MUL16;
  pTimeBaseCfg.Mode = HRTIM_MODE_CONTINUOUS;
  if (HAL_HRTIM_TimeBaseConfig(&hhrtim1, HRTIM_TIMERINDEX_TIMER_C, &pTimeBaseCfg) != HAL_OK)
  {
    Error_Handler();
  }
  pTimerCtl.UpDownMode = HRTIM_TIMERUPDOWNMODE_UP;
  pTimerCtl.GreaterCMP1 = HRTIM_TIMERGTCMP1_EQUAL;
  pTimerCtl.DualChannelDacEnable = HRTIM_TIMER_DCDE_DISABLED;
  if (HAL_HRTIM_WaveformTimerControl(&hhrtim1, HRTIM_TIMERINDEX_TIMER_C, &pTimerCtl) != HAL_OK)
  {
    Error_Handler();
  }
  pTimerCfg.InterruptRequests = HRTIM_TIM_IT_NONE;
  pTimerCfg.DMARequests = HRTIM_TIM_DMA_NONE;
  pTimerCfg.DMASrcAddress = 0x0000;
  pTimerCfg.DMADstAddress = 0x0000;
  pTimerCfg.DMASize = 0x1;
  pTimerCfg.HalfModeEnable = HRTIM_HALFMODE_DISABLED;
  pTimerCfg.InterleavedMode = HRTIM_INTERLEAVED_MODE_DISABLED;
  pTimerCfg.StartOnSync = HRTIM_SYNCSTART_DISABLED;
  pTimerCfg.ResetOnSync = HRTIM_SYNCRESET_DISABLED;
  pTimerCfg.DACSynchro = HRTIM_DACSYNC_NONE;
  pTimerCfg.PreloadEnable = HRTIM_PRELOAD_DISABLED;
  pTimerCfg.UpdateGating = HRTIM_UPDATEGATING_INDEPENDENT;
  pTimerCfg.BurstMode = HRTIM_TIMERBURSTMODE_MAINTAINCLOCK;
  pTimerCfg.RepetitionUpdate = HRTIM_UPDATEONREPETITION_DISABLED;
  pTimerCfg.PushPull = HRTIM_TIMPUSHPULLMODE_DISABLED;
  pTimerCfg.FaultEnable = HRTIM_TIMFAULTENABLE_NONE;
  pTimerCfg.FaultLock = HRTIM_TIMFAULTLOCK_READWRITE;
  pTimerCfg.DeadTimeInsertion = HRTIM_TIMDEADTIMEINSERTION_DISABLED;
  pTimerCfg.DelayedProtectionMode = HRTIM_TIMER_A_B_C_DELAYEDPROTECTION_DISABLED;
  pTimerCfg.UpdateTrigger = HRTIM_TIMUPDATETRIGGER_NONE;
  pTimerCfg.ResetTrigger = HRTIM_TIMRESETTRIGGER_OTHER3_CMP2|HRTIM_TIMRESETTRIGGER_EEV_6;
  pTimerCfg.ResetUpdate = HRTIM_TIMUPDATEONRESET_DISABLED;
  pTimerCfg.ReSyncUpdate = HRTIM_TIMERESYNC_UPDATE_UNCONDITIONAL;
  if (HAL_HRTIM_WaveformTimerConfig(&hhrtim1, HRTIM_TIMERINDEX_TIMER_C, &pTimerCfg) != HAL_OK)
  {
    Error_Handler();
  }
  pTimerCfg.DelayedProtectionMode = HRTIM_TIMER_D_E_DELAYEDPROTECTION_DISABLED;
  pTimerCfg.ResetTrigger = HRTIM_TIMRESETTRIGGER_CMP2|HRTIM_TIMRESETTRIGGER_EEV_6;
  pTimerCfg.ResetUpdate = HRTIM_TIMUPDATEONRESET_ENABLED;
  if (HAL_HRTIM_WaveformTimerConfig(&hhrtim1, HRTIM_TIMERINDEX_TIMER_D, &pTimerCfg) != HAL_OK)
  {
    Error_Handler();
  }
  pTimerCfg.ResetTrigger = HRTIM_TIMRESETTRIGGER_OTHER4_CMP2|HRTIM_TIMRESETTRIGGER_EEV_6;
  if (HAL_HRTIM_WaveformTimerConfig(&hhrtim1, HRTIM_TIMERINDEX_TIMER_E, &pTimerCfg) != HAL_OK)
  {
    Error_Handler();
  }
  pTimerCfg.InterruptRequests = HRTIM_TIM_IT_RST;
  pTimerCfg.DelayedProtectionMode = HRTIM_TIMER_F_DELAYEDPROTECTION_DISABLED;
  pTimerCfg.ResetTrigger = HRTIM_TIMRESETTRIGGER_EEV_6|HRTIM_TIMRESETTRIGGER_OTHER4_CMP2;
  pTimerCfg.ResetUpdate = HRTIM_TIMUPDATEONRESET_DISABLED;
  if (HAL_HRTIM_WaveformTimerConfig(&hhrtim1, HRTIM_TIMERINDEX_TIMER_F, &pTimerCfg) != HAL_OK)
  {
    Error_Handler();
  }
  pCompareCfg.CompareValue = TON_MIN;
  if (HAL_HRTIM_WaveformCompareConfig(&hhrtim1, HRTIM_TIMERINDEX_TIMER_C, HRTIM_COMPAREUNIT_1, &pCompareCfg) != HAL_OK)
  {
    Error_Handler();
  }
  pCompareCfg.CompareValue = TOFF_MIN;
  pCompareCfg.AutoDelayedMode = HRTIM_AUTODELAYEDMODE_AUTODELAYED_TIMEOUTCMP1;
  pCompareCfg.AutoDelayedTimeout = TON_MAX;
  if (HAL_HRTIM_WaveformCompareConfig(&hhrtim1, HRTIM_TIMERINDEX_TIMER_D, HRTIM_COMPAREUNIT_4, &pCompareCfg) != HAL_OK)
  {
    Error_Handler();
  }
  pCompareCfg.CompareValue = 31000;
  pCompareCfg.AutoDelayedMode = HRTIM_AUTODELAYEDMODE_REGULAR;
  pCompareCfg.AutoDelayedTimeout = 0x0000;
  if (HAL_HRTIM_WaveformCompareConfig(&hhrtim1, HRTIM_TIMERINDEX_TIMER_E, HRTIM_COMPAREUNIT_4, &pCompareCfg) != HAL_OK)
  {
    Error_Handler();
  }
  pCaptureCfg.Trigger = HRTIM_CAPTURETRIGGER_EEV_5;
  if (HAL_HRTIM_WaveformCaptureConfig(&hhrtim1, HRTIM_TIMERINDEX_TIMER_D, HRTIM_CAPTUREUNIT_1, &pCaptureCfg) != HAL_OK)
  {
    Error_Handler();
  }
  if (HAL_HRTIM_WaveformCaptureConfig(&hhrtim1, HRTIM_TIMERINDEX_TIMER_D, HRTIM_CAPTUREUNIT_2, &pCaptureCfg) != HAL_OK)
  {
    Error_Handler();
  }
  pTimerEventFilteringCfg.Filter = HRTIM_TIMEEVFLT_BLANKINGCMP3;
  pTimerEventFilteringCfg.Latch = HRTIM_TIMEVENTLATCH_DISABLED;
  if (HAL_HRTIM_TimerEventFilteringConfig(&hhrtim1, HRTIM_TIMERINDEX_TIMER_D, HRTIM_EVENT_5, &pTimerEventFilteringCfg) != HAL_OK)
  {
    Error_Handler();
  }
  pTimerEventFilteringCfg.Filter = HRTIM_TIMEEVFLT_BLANKING_TIMCEEF6_TIMDCMP4;
  pTimerEventFilteringCfg.Latch = HRTIM_TIMEVENTLATCH_ENABLED;
  if (HAL_HRTIM_TimerEventFilteringConfig(&hhrtim1, HRTIM_TIMERINDEX_TIMER_C, HRTIM_EVENT_6, &pTimerEventFilteringCfg) != HAL_OK)
  {
    Error_Handler();
  }
  pTimerEventFilteringCfg.Filter = HRTIM_TIMEEVFLT_BLANKINGCMP4;
  if (HAL_HRTIM_TimerEventFilteringConfig(&hhrtim1, HRTIM_TIMERINDEX_TIMER_D, HRTIM_EVENT_6, &pTimerEventFilteringCfg) != HAL_OK)
  {
    Error_Handler();
  }
  pTimerEventFilteringCfg.Filter = HRTIM_TIMEEVFLT_BLANKING_TIMEEEF7_TIMDCMP4;
  if (HAL_HRTIM_TimerEventFilteringConfig(&hhrtim1, HRTIM_TIMERINDEX_TIMER_E, HRTIM_EVENT_6, &pTimerEventFilteringCfg) != HAL_OK)
  {
    Error_Handler();
  }
  pTimerEventFilteringCfg.Filter = HRTIM_TIMEEVFLT_BLANKING_TIMFEEF5_TIMDCMP4;
  if (HAL_HRTIM_TimerEventFilteringConfig(&hhrtim1, HRTIM_TIMERINDEX_TIMER_F, HRTIM_EVENT_6, &pTimerEventFilteringCfg) != HAL_OK)
  {
    Error_Handler();
  }
  pOutputCfg.Polarity = HRTIM_OUTPUTPOLARITY_HIGH;
  pOutputCfg.SetSource = HRTIM_OUTPUTSET_TIMCEV5_TIMDCMP2|HRTIM_OUTPUTSET_EEV_6;
  pOutputCfg.ResetSource = HRTIM_OUTPUTRESET_TIMCMP1|HRTIM_OUTPUTRESET_TIMCEV6_TIMDCMP4;
  pOutputCfg.IdleMode = HRTIM_OUTPUTIDLEMODE_NONE;
  pOutputCfg.IdleLevel = HRTIM_OUTPUTIDLELEVEL_INACTIVE;
  pOutputCfg.FaultLevel = HRTIM_OUTPUTFAULTLEVEL_NONE;
  pOutputCfg.ChopperModeEnable = HRTIM_OUTPUTCHOPPERMODE_DISABLED;
  pOutputCfg.BurstModeEntryDelayed = HRTIM_OUTPUTBURSTMODEENTRY_REGULAR;
  if (HAL_HRTIM_WaveformOutputConfig(&hhrtim1, HRTIM_TIMERINDEX_TIMER_C, HRTIM_OUTPUT_TC2, &pOutputCfg) != HAL_OK)
  {
    Error_Handler();
  }
  pOutputCfg.SetSource = HRTIM_OUTPUTSET_TIMCMP3;
  pOutputCfg.ResetSource = HRTIM_OUTPUTRESET_TIMCMP4|HRTIM_OUTPUTRESET_TIMEEV7_TIMDCMP2
                              |HRTIM_OUTPUTRESET_EEV_6;
  if (HAL_HRTIM_WaveformOutputConfig(&hhrtim1, HRTIM_TIMERINDEX_TIMER_E, HRTIM_OUTPUT_TE2, &pOutputCfg) != HAL_OK)
  {
    Error_Handler();
  }
  pOutputCfg.SetSource = HRTIM_OUTPUTSET_TIMCMP1;
  pOutputCfg.ResetSource = HRTIM_OUTPUTRESET_TIMCMP2;
  if (HAL_HRTIM_WaveformOutputConfig(&hhrtim1, HRTIM_TIMERINDEX_TIMER_F, HRTIM_OUTPUT_TF2, &pOutputCfg) != HAL_OK)
  {
    Error_Handler();
  }
  if (HAL_HRTIM_TimeBaseConfig(&hhrtim1, HRTIM_TIMERINDEX_TIMER_D, &pTimeBaseCfg) != HAL_OK)
  {
    Error_Handler();
  }
  pTimerCtl.TrigHalf = HRTIM_TIMERTRIGHALF_DISABLED;
  pTimerCtl.GreaterCMP3 = HRTIM_TIMERGTCMP3_EQUAL;
  if (HAL_HRTIM_WaveformTimerControl(&hhrtim1, HRTIM_TIMERINDEX_TIMER_D, &pTimerCtl) != HAL_OK)
  {
    Error_Handler();
  }
  pCompareCfg.CompareValue = TOFF_MAX;
  pCompareCfg.AutoDelayedMode = HRTIM_AUTODELAYEDMODE_AUTODELAYED_TIMEOUTCMP1;
  pCompareCfg.AutoDelayedTimeout = TON_MAX;
  if (HAL_HRTIM_WaveformCompareConfig(&hhrtim1, HRTIM_TIMERINDEX_TIMER_D, HRTIM_COMPAREUNIT_2, &pCompareCfg) != HAL_OK)
  {
    Error_Handler();
  }
  pCompareCfg.CompareValue = TON_MIN;
  if (HAL_HRTIM_WaveformCompareConfig(&hhrtim1, HRTIM_TIMERINDEX_TIMER_D, HRTIM_COMPAREUNIT_3, &pCompareCfg) != HAL_OK)
  {
    Error_Handler();
  }
  pOutputCfg.SetSource = HRTIM_OUTPUTSET_TIMCMP2|HRTIM_OUTPUTSET_EEV_6;
  pOutputCfg.ResetSource = HRTIM_OUTPUTRESET_TIMCMP1|HRTIM_OUTPUTRESET_EEV_5;
  if (HAL_HRTIM_WaveformOutputConfig(&hhrtim1, HRTIM_TIMERINDEX_TIMER_D, HRTIM_OUTPUT_TD1, &pOutputCfg) != HAL_OK)
  {
    Error_Handler();
  }
  if (HAL_HRTIM_TimeBaseConfig(&hhrtim1, HRTIM_TIMERINDEX_TIMER_E, &pTimeBaseCfg) != HAL_OK)
  {
    Error_Handler();
  }
  if (HAL_HRTIM_WaveformTimerControl(&hhrtim1, HRTIM_TIMERINDEX_TIMER_E, &pTimerCtl) != HAL_OK)
  {
    Error_Handler();
  }
  pCompareCfg.CompareValue = 30000;
  if (HAL_HRTIM_WaveformCompareConfig(&hhrtim1, HRTIM_TIMERINDEX_TIMER_E, HRTIM_COMPAREUNIT_3, &pCompareCfg) != HAL_OK)
  {
    Error_Handler();
  }
  if (HAL_HRTIM_TimeBaseConfig(&hhrtim1, HRTIM_TIMERINDEX_TIMER_F, &pTimeBaseCfg) != HAL_OK)
  {
    Error_Handler();
  }
  if (HAL_HRTIM_WaveformTimerControl(&hhrtim1, HRTIM_TIMERINDEX_TIMER_F, &pTimerCtl) != HAL_OK)
  {
    Error_Handler();
  }
  pCompareCfg.CompareValue = 14000;
  if (HAL_HRTIM_WaveformCompareConfig(&hhrtim1, HRTIM_TIMERINDEX_TIMER_F, HRTIM_COMPAREUNIT_1, &pCompareCfg) != HAL_OK)
  {
    Error_Handler();
  }
  pCompareCfg.CompareValue = 14100;
  pCompareCfg.AutoDelayedMode = HRTIM_AUTODELAYEDMODE_REGULAR;
  pCompareCfg.AutoDelayedTimeout = 0x0000;
  if (HAL_HRTIM_WaveformCompareConfig(&hhrtim1, HRTIM_TIMERINDEX_TIMER_F, HRTIM_COMPAREUNIT_2, &pCompareCfg) != HAL_OK)
  {
    Error_Handler();
  }
  HAL_HRTIM_MspPostInit(&hhrtim1);

}

static void MX_UCPD1_Init(void)
{

  LL_GPIO_InitTypeDef GPIO_InitStruct = {0};

  /* Peripheral clock enable */
  LL_APB1_GRP2_EnableClock(LL_APB1_GRP2_PERIPH_UCPD1);

  LL_AHB2_GRP1_EnableClock(LL_AHB2_GRP1_PERIPH_GPIOB);
  /**UCPD1 GPIO Configuration
  PB4   ------> UCPD1_CC2
  PB6   ------> UCPD1_CC1
  */
  GPIO_InitStruct.Pin = LL_GPIO_PIN_4;
  GPIO_InitStruct.Mode = LL_GPIO_MODE_ANALOG;
  GPIO_InitStruct.Pull = LL_GPIO_PULL_NO;
  LL_GPIO_Init(GPIOB, &GPIO_InitStruct);

  GPIO_InitStruct.Pin = LL_GPIO_PIN_6;
  GPIO_InitStruct.Mode = LL_GPIO_MODE_ANALOG;
  GPIO_InitStruct.Pull = LL_GPIO_PULL_NO;
  LL_GPIO_Init(GPIOB, &GPIO_InitStruct);

}

static void MX_USART3_UART_Init(void)
{

  huart3.Instance = USART3;
  huart3.Init.BaudRate = 115200;
  huart3.Init.WordLength = UART_WORDLENGTH_8B;
  huart3.Init.StopBits = UART_STOPBITS_1;
  huart3.Init.Parity = UART_PARITY_NONE;
  huart3.Init.Mode = UART_MODE_TX_RX;
  huart3.Init.HwFlowCtl = UART_HWCONTROL_NONE;
  huart3.Init.OverSampling = UART_OVERSAMPLING_16;
  huart3.Init.OneBitSampling = UART_ONE_BIT_SAMPLE_DISABLE;
  huart3.Init.ClockPrescaler = UART_PRESCALER_DIV4;
  huart3.AdvancedInit.AdvFeatureInit = UART_ADVFEATURE_NO_INIT;
  if (HAL_UART_Init(&huart3) != HAL_OK)
  {
    Error_Handler();
  }
  if (HAL_UARTEx_SetTxFifoThreshold(&huart3, UART_TXFIFO_THRESHOLD_1_8) != HAL_OK)
  {
    Error_Handler();
  }
  if (HAL_UARTEx_SetRxFifoThreshold(&huart3, UART_RXFIFO_THRESHOLD_1_8) != HAL_OK)
  {
    Error_Handler();
  }
  if (HAL_UARTEx_DisableFifoMode(&huart3) != HAL_OK)
  {
    Error_Handler();
  }

}

static void MX_USB_PCD_Init(void)
{

  hpcd_USB_FS.Instance = USB;
  hpcd_USB_FS.Init.dev_endpoints = 8;
  hpcd_USB_FS.Init.speed = PCD_SPEED_FULL;
  hpcd_USB_FS.Init.phy_itface = PCD_PHY_EMBEDDED;
  hpcd_USB_FS.Init.Sof_enable = DISABLE;
  hpcd_USB_FS.Init.low_power_enable = DISABLE;
  hpcd_USB_FS.Init.lpm_enable = DISABLE;
  hpcd_USB_FS.Init.battery_charging_enable = DISABLE;
  if (HAL_PCD_Init(&hpcd_USB_FS) != HAL_OK)
  {
    Error_Handler();
  }

}

static void MX_GPIO_Init(void)
{
  GPIO_InitTypeDef GPIO_InitStruct = {0};

  /* GPIO Ports Clock Enable */
  __HAL_RCC_GPIOC_CLK_ENABLE();
  __HAL_RCC_GPIOF_CLK_ENABLE();
  __HAL_RCC_GPIOA_CLK_ENABLE();
  __HAL_RCC_GPIOB_CLK_ENABLE();
  __HAL_RCC_GPIOD_CLK_ENABLE();

  /*Configure GPIO pin Output Level */
  HAL_GPIO_WritePin(GPIOC, BUCKBOOST_LOAD_1_Pin|BUCKBOOST_LOAD_2_Pin|BUCKBOOST_USBPD_EN_Pin|USBPD_1A_PROTECT_Pin, GPIO_PIN_RESET);

  /*Configure GPIO pin Output Level */
  HAL_GPIO_WritePin(IT_TIMEFRAME_GPIO_Port, IT_TIMEFRAME_Pin, GPIO_PIN_RESET);

  /*Configure GPIO pin Output Level */
  HAL_GPIO_WritePin(GPIOB, LD3_Pin|BUCKBOOST_P1_DRIVE_Pin|BUCKBOOST_P2_DRIVE_Pin|LD4_Pin, GPIO_PIN_RESET);

  /*Configure GPIO pin Output Level */
  HAL_GPIO_WritePin(LD2_GPIO_Port, LD2_Pin, GPIO_PIN_RESET);

  /*Configure GPIO pin Output Level */
  HAL_GPIO_WritePin(USBPD_550mA_PROTECT_GPIO_Port, USBPD_550mA_PROTECT_Pin, GPIO_PIN_RESET);

  /*Configure GPIO pins : JOYSTICK_SEL_Pin JOYSTICK_LEFT_Pin JOYSTICK_DOWN_Pin */
  GPIO_InitStruct.Pin = JOYSTICK_SEL_Pin|JOYSTICK_LEFT_Pin|JOYSTICK_DOWN_Pin;
  GPIO_InitStruct.Mode = GPIO_MODE_IT_RISING;
  GPIO_InitStruct.Pull = GPIO_PULLUP;
  HAL_GPIO_Init(GPIOC, &GPIO_InitStruct);

  /*Configure GPIO pins : BUCKBOOST_LOAD_1_Pin BUCKBOOST_LOAD_2_Pin BUCKBOOST_USBPD_EN_Pin USBPD_1A_PROTECT_Pin */
  GPIO_InitStruct.Pin = BUCKBOOST_LOAD_1_Pin|BUCKBOOST_LOAD_2_Pin|BUCKBOOST_USBPD_EN_Pin|USBPD_1A_PROTECT_Pin;
  GPIO_InitStruct.Mode = GPIO_MODE_OUTPUT_PP;
  GPIO_InitStruct.Pull = GPIO_NOPULL;
  GPIO_InitStruct.Speed = GPIO_SPEED_FREQ_LOW;
  HAL_GPIO_Init(GPIOC, &GPIO_InitStruct);

  /*Configure GPIO pin : IT_TIMEFRAME_Pin */
  GPIO_InitStruct.Pin = IT_TIMEFRAME_Pin;
  GPIO_InitStruct.Mode = GPIO_MODE_OUTPUT_PP;
  GPIO_InitStruct.Pull = GPIO_NOPULL;
  GPIO_InitStruct.Speed = GPIO_SPEED_FREQ_LOW;
  HAL_GPIO_Init(IT_TIMEFRAME_GPIO_Port, &GPIO_InitStruct);

  /*Configure GPIO pins : LD3_Pin BUCKBOOST_P1_DRIVE_Pin BUCKBOOST_P2_DRIVE_Pin LD4_Pin */
  GPIO_InitStruct.Pin = LD3_Pin|BUCKBOOST_P1_DRIVE_Pin|BUCKBOOST_P2_DRIVE_Pin|LD4_Pin;
  GPIO_InitStruct.Mode = GPIO_MODE_OUTPUT_PP;
  GPIO_InitStruct.Pull = GPIO_NOPULL;
  GPIO_InitStruct.Speed = GPIO_SPEED_FREQ_LOW;
  HAL_GPIO_Init(GPIOB, &GPIO_InitStruct);

  /*Configure GPIO pins : JOYSTICK_RIGHT_Pin JOYSTICK_UP_Pin */
  GPIO_InitStruct.Pin = JOYSTICK_RIGHT_Pin|JOYSTICK_UP_Pin;
  GPIO_InitStruct.Mode = GPIO_MODE_IT_RISING;
  GPIO_InitStruct.Pull = GPIO_PULLUP;
  HAL_GPIO_Init(GPIOB, &GPIO_InitStruct);

  /*Configure GPIO pin : LD2_Pin */
  GPIO_InitStruct.Pin = LD2_Pin;
  GPIO_InitStruct.Mode = GPIO_MODE_OUTPUT_PP;
  GPIO_InitStruct.Pull = GPIO_NOPULL;
  GPIO_InitStruct.Speed = GPIO_SPEED_FREQ_LOW;
  HAL_GPIO_Init(LD2_GPIO_Port, &GPIO_InitStruct);

  /*Configure GPIO pin : USBPD_550mA_PROTECT_Pin */
  GPIO_InitStruct.Pin = USBPD_550mA_PROTECT_Pin;
  GPIO_InitStruct.Mode = GPIO_MODE_OUTPUT_PP;
  GPIO_InitStruct.Pull = GPIO_NOPULL;
  GPIO_InitStruct.Speed = GPIO_SPEED_FREQ_LOW;
  HAL_GPIO_Init(USBPD_550mA_PROTECT_GPIO_Port, &GPIO_InitStruct);

  /* EXTI interrupt init*/
  HAL_NVIC_SetPriority(EXTI15_10_IRQn, 1, 0);
  HAL_NVIC_EnableIRQ(EXTI15_10_IRQn);

}

void Error_Handler(void)
{
  __disable_irq();
  while (1)
  {
  }
}
